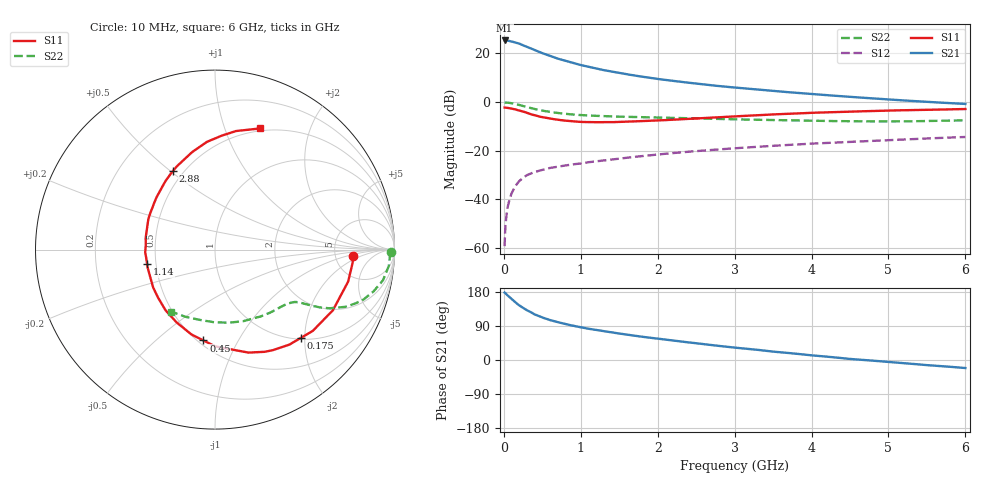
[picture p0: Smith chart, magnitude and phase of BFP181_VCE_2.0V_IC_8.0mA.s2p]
! Infineon Technologies  Discrete & RF Semiconductors
! BFP181
! VCE = 2.0 V,  IC =  8.0 mA
! Common Emitter S-Parameters:  Jan 2016
# GHz  S  MA  R  50
!  f  S11  S21  S12  S22
! GHz  MAG  ANG  MAG  ANG  MAG  ANG  MAG  ANG
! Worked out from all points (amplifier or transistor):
!   210 points, 10 MHz to 6 GHz, reference 50 ohm
!   highest |S21| = 25.3 dB at 10 MHz (marker M1)
!   |S21| within 3 dB of that: start of sweep to 330.4 MHz
!   unconditionally stable (mu >= 1): 1.161 GHz to end of sweep
!   at 185 MHz: K = 0.26, MSG = 28.6 dB, |S12| = -33.0 dB
!   at 1.52 GHz: K = 1.11, MAG = 15.5 dB, |S12| = -23.1 dB
!   at 6 GHz: K = 1.03, MAG = 5.7 dB, |S12| = -14.3 dB
!   S11 on the Smith chart (normalised r, x): 10 MHz: 7.44, -1.38; 175 MHz: 1.04, -1.92; 450 MHz: 0.53, -0.73; 1.14 GHz: 0.45, -0.09; 2.88 GHz: 0.44, +0.51; 6 GHz: 0.47, +1.33
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0.01  0.7702 -2.8  18.41 178.0  0.0011 83.4  0.9805 -0.8
0.05  0.763 -13.5  18.32 170.2  0.007 85.6  0.973 -5.3
0.105  0.7343 -28.4  17.46 160.1  0.0138 74.0  0.9476 -10.7
0.15  0.7086 -39.7  16.79 152.0  0.0188 69.9  0.9143 -14.7
0.175  0.6866 -45.6  16.28 148.2  0.0213 67.2  0.8935 -16.6
0.2  0.6724 -51.9  15.86 144.1  0.0239 65.0  0.8737 -18.5
0.3  0.6034 -72.0  13.66 131.3  0.0316 57.8  0.7909 -23.8
0.4  0.539 -89.9  11.76 120.3  0.0366 53.1  0.7201 -27.0
0.45  0.51 -97.3  10.9 116.5  0.0385 51.4  0.6932 -27.9
0.5  0.4906 -105.5  10.1 112.0  0.0405 49.8  0.6664 -28.9
0.56  0.469 -112.6  9.365 108.2  0.0428 48.9  0.6427 -29.5
0.7  0.4363 -129.1  7.808 99.8  0.0469 47.3  0.5967 -30.8
0.8  0.4155 -139.6  7.031 94.7  0.0499 46.1  0.5731 -31.5
1.02  0.3905 -158.9  5.666 85.6  0.0555 46.2  0.5388 -32.8
1.14  0.3867 -167.8  5.137 81.3  0.0591 45.8  0.5268 -33.8
1.5  0.3917 170.5  3.966 69.8  0.0692 45.8  0.5022 -37.0
2.02  0.4202 145.9  2.955 55.8  0.0844 44.4  0.4797 -43.4
2.88  0.497 118.0  2.072 35.4  0.1091 40.2  0.448 -56.8
3.1  0.5176 112.3  1.924 30.8  0.1153 38.9  0.4391 -60.7
4.1  0.6079 92.7  1.427 10.6  0.1425 32.1  0.4115 -81.1
5.1  0.675 78.8  1.105 -6.8  0.1675 25.3  0.4009 -104.3
6  0.7201 69.6  0.915 -21.2  0.1921 18.4  0.4233 -125.4
